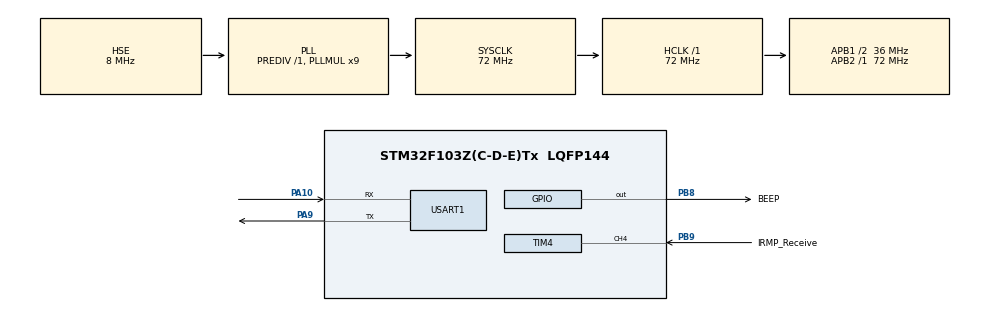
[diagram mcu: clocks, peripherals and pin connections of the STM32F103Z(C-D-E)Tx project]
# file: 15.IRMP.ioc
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Mcu.Family=STM32F1
RCC.PLLSourceVirtual=RCC_PLLSOURCE_HSE
PB9.GPIO_Label=IRMP_Receive
PA10.Mode=Asynchronous
SH.S_TIM4_CH4.0=TIM4_CH4,Input_Capture4_from_TI4
PB8.GPIO_PuPd=GPIO_PULLDOWN
RCC.APB1CLKDivider=RCC_HCLK_DIV2
RCC.SYSCLKSource=RCC_SYSCLKSOURCE_PLLCLK
ProjectManager.StackSize=0x400
PA13.Signal=SYS_JTMS-SWDIO
PB8.GPIO_Label=BEEP
PA9.Mode=Asynchronous
TIM4.Channel-Input_Capture4_from_TI4=TIM_CHANNEL_4
ProjectManager.TargetToolchain=STM32CubeIDE
RCC.HCLKFreq_Value=72000000
RCC.APB2TimFreq_Value=72000000
PA9.Signal=USART1_TX
OSC_IN.Signal=RCC_OSC_IN
RCC.USBFreq_Value=72000000
OSC_OUT.Mode=HSE-External-Oscillator
TIM4.Prescaler=((F_CPU / F_INTERRUPTS)/8) - 1
OSC_OUT.Signal=RCC_OSC_OUT
RCC.AHBFreq_Value=72000000
board=custom
RCC.PLLMUL=RCC_PLL_MUL9
RCC.APB2Freq_Value=72000000
PA14.Mode=Serial_Wire
TIM4.Period=8-1
PA13.Mode=Serial_Wire
Mcu.Name=STM32F103Z(C-D-E)Tx
RCC.SYSCLKFreq_VALUE=72000000
Mcu.Package=LQFP144
PB9.Signal=S_TIM4_CH4
OSC_IN.Mode=HSE-External-Oscillator
USART1.VirtualMode=VM_ASYNC
PB9.GPIO_PuPd=GPIO_PULLUP
PA14.Signal=SYS_JTCK-SWCLK
PA10.Signal=USART1_RX
ProjectManager.HeapSize=0x200
VP_TIM4_VS_ClockSourceINT.Mode=Internal
NVIC.PriorityGroup=NVIC_PRIORITYGROUP_4
RCC.APB1TimFreq_Value=72000000
PB8.Signal=GPIO_Output
NVIC.TIM4_IRQn=true\:0\:0\:false\:false\:true\:true\:true
RCC.APB1Freq_Value=36000000
PB8.GPIO_Speed=GPIO_SPEED_FREQ_HIGH

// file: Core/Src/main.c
/* USER CODE BEGIN Header */
/**
 ******************************************************************************
 * @file           : main.c
 * @brief          : Main program body
 ******************************************************************************
 * @attention
 *
 * <h2><center>&copy; Copyright (c) 2021 STMicroelectronics.
 * All rights reserved.</center></h2>
 *
 * This software component is licensed by ST under BSD 3-Clause license,
 * the "License"; You may not use this file except in compliance with the
 * License. You may obtain a copy of the License at:
 *                        opensource.org/licenses/BSD-3-Clause
 *
 ******************************************************************************
 */
/* USER CODE END Header */
#include "main.h"
#include "tim.h"
#include "usart.h"
#include "gpio.h"

#include "lcd_irmp.h"
/* USER CODE END Includes */

void SystemClock_Config(void);

int main(void) {
	/* USER CODE BEGIN 1 */
	IRMP_DATA irmp_data;
	/* USER CODE END 1 */

	/* MCU Configuration--------------------------------------------------------*/

	/* Reset of all peripherals, Initializes the Flash interface and the Systick. */
	HAL_Init();

	/* Configure the system clock */
	SystemClock_Config();

	/* Initialize all configured peripherals */
	MX_GPIO_Init();
	MX_TIM4_Init();
	MX_USART1_UART_Init();
	/* USER CODE BEGIN 2 */
	irmp_init();
	printf("初始化完成.....\r\n");
	/* USER CODE END 2 */

	/* Infinite loop */
	/* USER CODE BEGIN WHILE */
	while (1) {
		if (irmp_get_data(&irmp_data)) {
			HAL_Delay(50);
			printf("按键被按下了......\r\n");
			printf("指令:0x%02x\r\n", irmp_data.command);
		}
		/* USER CODE END WHILE */

	}
}

void SystemClock_Config(void) {
	RCC_OscInitTypeDef RCC_OscInitStruct = { 0 };
	RCC_ClkInitTypeDef RCC_ClkInitStruct = { 0 };

	/** Initializes the RCC Oscillators according to the specified parameters
	 * in the RCC_OscInitTypeDef structure.
	 */
	RCC_OscInitStruct.OscillatorType = RCC_OSCILLATORTYPE_HSE;
	RCC_OscInitStruct.HSEState = RCC_HSE_ON;
	RCC_OscInitStruct.HSEPredivValue = RCC_HSE_PREDIV_DIV1;
	RCC_OscInitStruct.HSIState = RCC_HSI_ON;
	RCC_OscInitStruct.PLL.PLLState = RCC_PLL_ON;
	RCC_OscInitStruct.PLL.PLLSource = RCC_PLLSOURCE_HSE;
	RCC_OscInitStruct.PLL.PLLMUL = RCC_PLL_MUL9;
	if (HAL_RCC_OscConfig(&RCC_OscInitStruct) != HAL_OK) {
		Error_Handler();
	}
	/** Initializes the CPU, AHB and APB buses clocks
	 */
	RCC_ClkInitStruct.ClockType = RCC_CLOCKTYPE_HCLK | RCC_CLOCKTYPE_SYSCLK
			| RCC_CLOCKTYPE_PCLK1 | RCC_CLOCKTYPE_PCLK2;
	RCC_ClkInitStruct.SYSCLKSource = RCC_SYSCLKSOURCE_PLLCLK;
	RCC_ClkInitStruct.AHBCLKDivider = RCC_SYSCLK_DIV1;
	RCC_ClkInitStruct.APB1CLKDivider = RCC_HCLK_DIV2;
	RCC_ClkInitStruct.APB2CLKDivider = RCC_HCLK_DIV1;

	if (HAL_RCC_ClockConfig(&RCC_ClkInitStruct, FLASH_LATENCY_2) != HAL_OK) {
		Error_Handler();
	}
}

/* USER CODE BEGIN 4 */
// 须在头文件中添加 #include <stdio.h>
//////////////////////////////////////////////////////////////////
// 加入以下代码,支持printf函数,而不需要选择use MicroLIB
// MDK中同样定义了 __GNUC__，使用__ARMCC_VERSION 或  __CC_ARM 区分MDK和STM32CubeIDE
// MDK预定义宏，详见 ：https://www.keil.com/support/man/docs/armcc/armcc_chr1359125007083.htm
#ifdef __CC_ARM // 或 #ifdef __ARMCC_VERSION
  #define PUTCHAR_PROTOTYPE int fputc(int ch, FILE *f)
#else
#define PUTCHAR_PROTOTYPE int __io_putchar(int ch)
#endif
#if 1

FILE __stdout;
//定义_sys_exit()以避免使用半主机模式
void _sys_exit(int x) {
	x = x;
}
//重定义fputc函数
PUTCHAR_PROTOTYPE {
	// 具体哪个串口可以更改huart2为其它串口
	// HAL_UART_Transmit(&huart2, (uint8_t *)&ch, 1 , 0xffff);
	while ((USART1->SR & 0X40) == 0) {
	}; //循环发送,直到发送完毕
	USART1->DR = (uint8_t) ch;

//  while ((USART2->SR & 0X40) == 0) {
//  }; //循环发送,直到发送完毕
//  USART2->DR = (uint8_t) ch;

	return ch;
}
#endif

/* USER CODE END 4 */

void Error_Handler(void) {
	__disable_irq();
	while (1) {
	}
}

/************************ (C) COPYRIGHT STMicroelectronics *****END OF FILE****/
